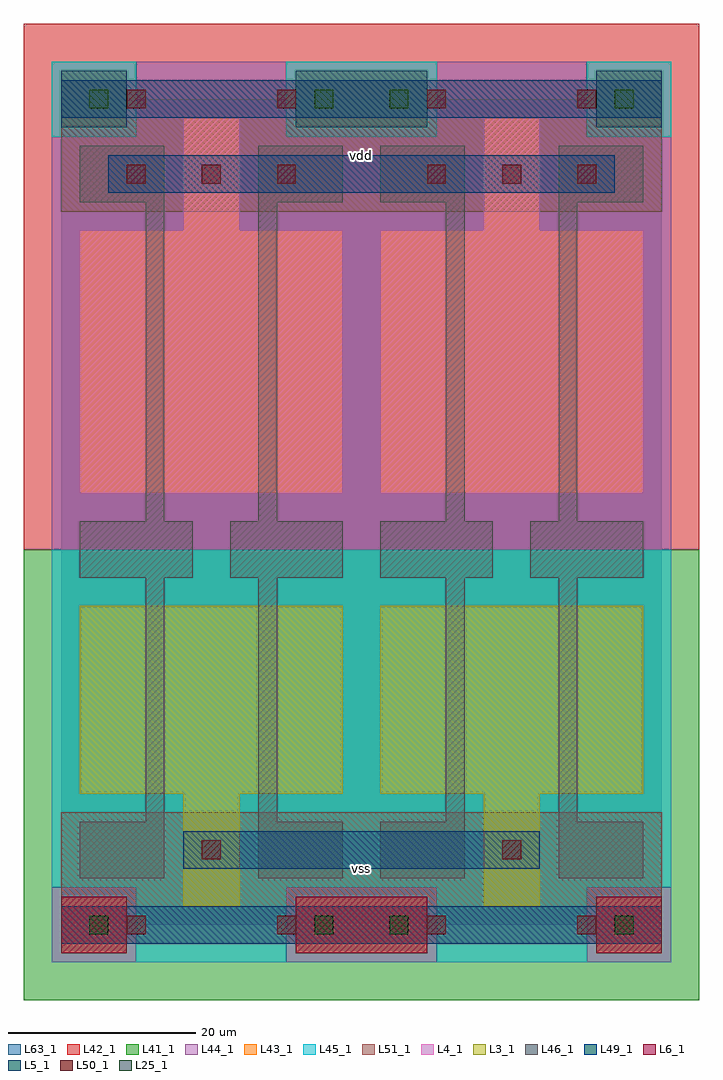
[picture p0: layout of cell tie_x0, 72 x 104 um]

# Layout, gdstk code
import gdstk
lib = gdstk.Library(unit=1e-6, precision=1e-09)
def R(c, l, rs):  # rectangles x0, y0, x1, y1
    for r in rs: c.add(gdstk.rectangle(r[:2], r[2:], *l))
def A(c, l, x, y, w, h, nx, ny, dx, dy):  # array of equal rectangles
    R(c, l, [(x+i*dx, y+j*dy, x+i*dx+w, y+j*dy+h) for i in range(nx) for j in range(ny)])
L3_1 = (3, 1)
L4_1 = (4, 1)
L5_1 = (5, 1)
L6_1 = (6, 1)
L25_1 = (25, 1)
L41_1 = (41, 1)
L42_1 = (42, 1)
L43_1 = (43, 1)
L44_1 = (44, 1)
L45_1 = (45, 1)
L46_1 = (46, 1)
L49_1 = (49, 1)
L50_1 = (50, 1)
L51_1 = (51, 1)
L63_1 = (63, 1)

tie_x0 = lib.new_cell('tie_x0')
R(tie_x0, L3_1, [(13,2,19,14), (45,2,51,14), (2,14,30,34), (34,14,62,34)])
R(tie_x0, L4_1, [(2,46,30,74), (34,46,62,74), (13,74,19,86), (45,74,51,86)])
R(tie_x0, L5_1, [(0,85,7,91), (25,85,39,91), (57,85,64,91)])
R(tie_x0, L6_1, [(0,-3,7,3), (0,-3,7,3), (25,-3,39,3), (25,-3,39,3), (57,-3,64,3), (57,-3,64,3)])
R(tie_x0, L25_1, [(3,-1,5,1), (27,-1,29,1), (35,-1,37,1), (59,-1,61,1), (3,87,5,89), (27,87,29,89), (35,87,37,89), (59,87,61,89)])
R(tie_x0, L41_1, [(-4,-8,68,40)])
R(tie_x0, L42_1, [(-4,40,68,96)])
R(tie_x0, L43_1, [(0,-3,7,3), (25,-3,39,3), (57,-3,64,3), (13,2,19,14), (45,2,51,14), (2,14,30,34), (34,14,62,34), (2,46,30,74), (34,46,62,74), (13,74,19,86), (45,74,51,86), (0,85,7,91), (25,85,39,91), (57,85,64,91)])
R(tie_x0, L44_1, [(-1,-4,8,4), (24,-4,40,4), (56,-4,65,4), (-1,40,65,84), (8,84,24,92), (40,84,56,92)])
R(tie_x0, L45_1, [(8,-4,24,4), (40,-4,56,4), (-1,4,65,40), (-1,84,8,92), (24,84,40,92), (56,84,65,92)])
A(tie_x0, L46_1, 2, 37, 12, 6, 4, 1, 16, 0)
R(tie_x0, L46_1, [(2,5,11,11), (21,5,30,11), (34,5,43,11), (53,5,62,11), (9,11,11,37), (21,11,23,37), (41,11,43,37), (53,11,55,37), (9,43,11,77), (21,43,23,77), (41,43,43,77), (53,43,55,77), (2,77,11,83), (21,77,30,83), (34,77,43,83), (53,77,62,83)])
R(tie_x0, L49_1, [(0,-2,64,2), (13,6,51,10), (5,78,59,82), (0,86,64,90)])
A(tie_x0, L50_1, 7, -1, 2, 2, 4, 2, 16, 88)
A(tie_x0, L50_1, 7, 79, 2, 2, 3, 1, 8, 0)
A(tie_x0, L50_1, 39, 79, 2, 2, 3, 1, 8, 0)
R(tie_x0, L50_1, [(15,7,17,9), (47,7,49,9)])
R(tie_x0, L51_1, [(0,-2,64,12), (0,76,64,90)])
R(tie_x0, L63_1, [(0,0,64,88)])
tie_x0.add(gdstk.Label('vss', (32,6), layer=51, texttype=1))
tie_x0.add(gdstk.Label('vdd', (32,82), layer=51, texttype=1))

lib.write_gds('tie_x0.gds')
